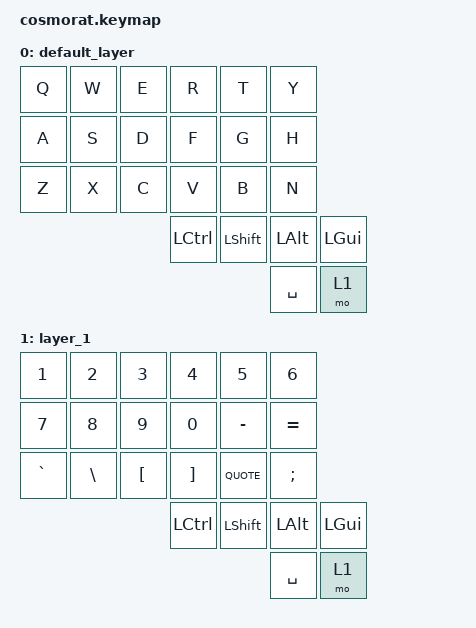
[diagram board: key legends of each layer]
#include <behaviors.dtsi>
#include <dt-bindings/zmk/keys.h>

/ {
    keymap {
        compatible = "zmk,keymap";

        default_layer { // Layer 0
            // -------------------------------------
            // |     Q     |     W     |     E     |     R     |     T     |     Y     |
            // |     A     |     S     |     D     |     F     |     G     |     H     |
            // |     Z     |     X     |     C     |     V     |     B     |     N     |
            //                                     |  LCTRL    |  LSHIFT   |  LALT     |  LGUI     |
            //                                                              |  SPACE    |  MO(1)    |
            bindings = <
                &kp Q      &kp W      &kp E     &kp R     &kp T     &kp Y
                &kp A      &kp S      &kp D     &kp F     &kp G     &kp H
                &kp Z      &kp X      &kp C     &kp V     &kp B     &kp N
                                                &kp LCTRL &kp LSHIFT &kp LALT &kp LGUI
                                                                     &kp SPACE &mo 1
            >;
        };

        layer_1 { // Layer 1 (активируется при нажатии на клавишу в thumb cluster)
            // -------------------------------------
            // |     1     |     2     |     3     |     4     |     5     |     6     |
            // |     7     |     8     |     9     |     0     |     -     |     =     |
            // |     `     |     \     |     [     |     ]     |     '     |     ;     |
            //                                     |  LCTRL    |  LSHIFT   |  LALT     |  LGUI     |
            //                                                              |  SPACE    |  MO(1)    |
            bindings = <
                &kp NUM_1  &kp NUM_2  &kp NUM_3 &kp NUM_4 &kp NUM_5 &kp NUM_6
                &kp NUM_7  &kp NUM_8  &kp NUM_9 &kp NUM_0 &kp MINUS &kp EQUAL
                &kp GRAVE  &kp BSLH   &kp LBKT  &kp RBKT  &kp QUOTE &kp SEMI
                                                &kp LCTRL &kp LSHIFT &kp LALT &kp LGUI
                                                                     &kp SPACE &mo 1
            >;
        };
    };
};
